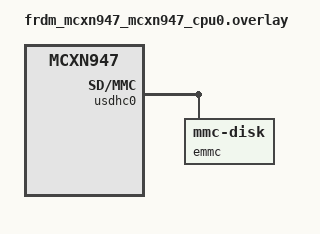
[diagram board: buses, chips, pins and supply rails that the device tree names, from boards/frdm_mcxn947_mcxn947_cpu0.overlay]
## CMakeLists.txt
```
cmake_minimum_required(VERSION 3.13.1)

if(NOT DEFINED BOARD)
    set(BOARD db1/mcxn947/cpu0) # Must be before find_package()
    #set(BOARD frdm_mcxn947/mcxn947/cpu0) # Must be before find_package()
endif()
find_package(Zephyr REQUIRED HINTS $ENV{ZEPHYR_BASE})

project(app LANGUAGES C)

include(cmake/protobuf.cmake)


target_sources(app PRIVATE src/main.c)
target_sources(app PRIVATE src/debug_leds.c)
target_sources(app PRIVATE src/handle_fatal.c)
target_sources(app PRIVATE src/led_manager.c)
target_sources(app PRIVATE src/modem.c)
target_sources(app PRIVATE src/power.c)
target_sources(app PRIVATE src/imu.c)
target_sources(app PRIVATE src/rip.c)
target_sources(app PRIVATE src/pressure.c)
target_sources(app PRIVATE src/exg.c)
target_sources(app PRIVATE src/gpio_init.c)
target_sources(app PRIVATE src/fuel_gauge.c)
target_sources(app PRIVATE src/als.c)
target_sources(app PRIVATE src/audio.c)
target_sources(app PRIVATE src/display.c)
target_sources(app PRIVATE src/temperature.c)
target_sources(app PRIVATE src/storage.c)
target_sources(app PRIVATE src/uuid_lib.c)
target_sources(app PRIVATE src/boot_id.c)
target_sources(app PRIVATE src/ui.c)
target_sources(app PRIVATE src/usb.c)
target_sources(app PRIVATE src/process_storage.c)
target_sources(app PRIVATE src/processor.c)

#TODO This needs to be replaced with stowood specific info
include(${ZEPHYR_BASE}/samples/subsys/usb/common/common.cmake)


#Logo can be optionally removed from the build.
zephyr_sources_ifdef(CONFIG_DISPLAY_LOGO ../artefacts/test_logo.c)
target_include_directories(app PRIVATE ${CMAKE_CURRENT_SOURCE_DIR}/../artefacts)

#include the exg driver (is there a better way?)
target_include_directories(app PRIVATE ../include/app/drivers)

# This exposes the audio codec routing enum to the app,
# it seems that there is not a nice way to handle this.
target_include_directories(app PRIVATE ${CMAKE_CURRENT_SOURCE_DIR}/../drivers/audio/max9867)
```

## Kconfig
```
menu "Zephyr"
source "Kconfig.zephyr"
endmenu

menu "Application Configuration"

config NASAL_TEMP_SAMPLE_PERIOD_MS
	int "Nasal temperature sample period in ms"
	default 10
	help
	  Configure the nasal temperature sample period in ms.
	  Default is 10ms.

config NASAL_TEMP_BLOCK_SIZE
	int "Number of temperature samples per block"
	default 100
	help
	  Configure the number of temperature samples collected per block
	  before sending to the message queue.

config NASAL_TEMP_QUEUE_LEN
	int "Length of the temperature message queue"
	default 4
	help
      Configure the length of the temperature message queue.

config STORAGE_Q_LEN
	int "Length of the storage message queue"
	default 100
	help
	  Configure the length of the storage message queue.

config PROCESSOR_Q_LEN
	int "Length of the processor input message queue"
	default 100
	help
	  Configure the length of the processor input message queue.

config LOG_ROTATE_INTERVAL
	int "Log rotation interval in seconds"
	default 300
	help
	  Configure the interval in seconds at which log files are rotated.
	  Default is 300 seconds (5 minutes).

endmenu

module = APP
module-str = APP
source "subsys/logging/Kconfig.template.log_config"

config DISPLAY_LOGO
	bool "Enable display logo"
	default y
	depends on DISPLAY
	help
	  Enable inclusion of the logo in the display output.
	  When disabled, the logo source files will not be compiled
	  and the logo will not be displayed.

# TODO this should be removed and replaced with local, stowood specific config
source "samples/subsys/usb/common/Kconfig.sample_usbd"
```

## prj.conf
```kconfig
# ---------- Log module -----------
CONFIG_LOG=y
CONFIG_LOG_PRINTK=y
CONFIG_USE_SEGGER_RTT=n
CONFIG_LOG_BACKEND_RTT=n
CONFIG_PICOLIBC_IO_FLOAT=y # Print floats

CONFIG_LOG_BUFFER_SIZE=10240

# ---------- Debugging ------------
CONFIG_DEBUG_OPTIMIZATIONS=y
#CONFIG_NO_OPTIMIZATIONS=y <<-- This breaks debugging, probably no what you are expecting.
# CONFIG_THREAD_STACK_INFO=y
# CONFIG_STACK_SENTINEL=y
# CONFIG_DEBUG_THREAD_INFO=y

# ------- Fatal error handling ---------
CONFIG_REBOOT=y

# ---------- Boot/Device ID  -----------
CONFIG_HWINFO=y #Hardware Info (Unique ID)
CONFIG_ENTROPY_GENERATOR=y
CONFIG_TEST_RANDOM_GENERATOR=y
# TODO ^ This *must* be replaced for production!


#---------- IMU -------------
CONFIG_LSM6DSO=y
CONFIG_SENSOR=y

# ---------- Pressure sensor -------------
CONFIG_ABP2S=y
CONFIG_SENSOR=y

# ------- ExG I2S Driver -------------
CONFIG_I2S_ADS1298=y
CONFIG_SPI=y
CONFIG_GPIO=y

# ------- Fuel Gauge -------------
CONFIG_I2C=y
CONFIG_SENSOR=y

# ------- Modem -------------
CONFIG_SERIAL=y
CONFIG_UART_INTERRUPT_DRIVEN=y


# ---------- ALS -----------
CONFIG_I2C=y
CONFIG_SENSOR=y
CONFIG_VEML6030=y

# ---------- Audio -------------
CONFIG_I2C=y
CONFIG_AUDIO=y
CONFIG_AUDIO_CODEC=y
CONFIG_AUDIO_CODEC_MAX9867=y

# ---------- I2S -------------
CONFIG_I2S=y

# CONFIG_DMA_TCD_QUEUE_SIZE sets size of queue used to chain DMA blocks (TCDs)
# together, and should be sized as needed by the application.  If not large
# enough, the DMA may starve.  Symptoms of this issue include transmit blocks
# repeated, or RX blocks skipped. For I2S driver, queue size must be at least 3.
CONFIG_DMA_TCD_QUEUE_SIZE=4

# I2S and DMA logging can occur in interrupt context, and interfere with I2S
# stream timing.  If using either logging, set logging to deferred
CONFIG_DMA_LOG_LEVEL_OFF=y
CONFIG_I2S_LOG_LEVEL_OFF=y
# ---------- Display -------------
# 200000 diplay + 1024 from ADC(?)
CONFIG_HEAP_MEM_POOL_SIZE=202000
CONFIG_DISPLAY=y
#CONFIG_DISPLAY_LOGO=n

# ---------- ADC Temperature Sensor -------------
CONFIG_ADC=y
# CONFIG_NASAL_TEMP_SAMPLE_PERIOD_MS=800
# CONFIG_NASAL_TEMP_BLOCK_SIZE=20


# ---------- Disk --------------
CONFIG_DISK_ACCESS=y
CONFIG_DISK_DRIVERS=y
#CONFIG_SD_LOG_LEVEL_DBG=y
CONFIG_SD_OCR_RETRY_COUNT=10

CONFIG_FILE_SYSTEM=y
CONFIG_FAT_FILESYSTEM_ELM=y
CONFIG_FILE_SYSTEM_MKFS=y
CONFIG_FS_FATFS_LFN=y
#CONFIG_FS_FATFS_MOUNT_MKFS=n <--disable format if mount fails

#CONFIG_FILE_SYSTEM_LITTLEFS=y
#CONFIG_FS_LITTLEFS_BLK_DEV=y
#CONFIG_FS_LITTLEFS_FC_HEAP_SIZE=4096

# ---------- USB Mass Storage --------------
CONFIG_USB_DEVICE_STACK_NEXT=y
CONFIG_USBD_MSC_CLASS=y
CONFIG_USBD_MSC_LUNS_PER_INSTANCE=3
# CONFIG_SAMPLE_USBD_PRODUCT="BFP2"

# Reduce USB stack logging verbosity (covers usbd_ch9, usbd_core, etc.)
CONFIG_USBD_LOG_LEVEL_WRN=y

#CONFIG_USBD_LOG_LEVEL_OFF=y
#CONFIG_USBD_LOG_LEVEL_ERR=y
#CONFIG_USBD_LOG_LEVEL_INF=y

# ------------ Protobuf/Nanopb -------------
CONFIG_NANOPB=y

# ------------ Main Thread -------------
CONFIG_MAIN_STACK_SIZE=4096
# ------------ APP -------------
CONFIG_POLL=y
CONFIG_LOG_ROTATE_INTERVAL=20
```

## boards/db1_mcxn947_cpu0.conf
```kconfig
#CONFIG_DEBUG_OPTIMIZATIONS=y
#CONFIG_SD_LOG_LEVEL_DBG=y
```

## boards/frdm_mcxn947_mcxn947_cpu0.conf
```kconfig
#CONFIG_SD_LOG_LEVEL_DBG=y
```

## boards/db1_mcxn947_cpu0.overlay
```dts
//&sai1 {
//	status = "disabled";
//};
```

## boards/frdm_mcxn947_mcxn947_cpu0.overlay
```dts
&usdhc0 {
	status = "okay";
	pinctrl-0 = <&pinmux_usdhc0>;
	pinctrl-1 = <&pinmux_usdhc0>;
	pinctrl-2 = <&pinmux_usdhc0>;
	pinctrl-names = "default", "slow", "med";
	no-1-8-v;
	/delete-property/ cd-gpios; // Remove card detect to free PIO2_1 for D4
	pwr-gpios = <&gpio1 22 GPIO_ACTIVE_HIGH>; // eMMC power enable pin
	//	pwr-gpios = <&gpio1 17 GPIO_ACTIVE_LOW>; // eMMC reset pin
	power-delay-ms = <200>;
	/* eMMC - embedded storage */
	emmc {
//				compatible = "zephyr,sdmmc-disk";
		compatible = "zephyr,mmc-disk";
		disk-name = "SD2";
		status = "okay";
	};
	/* Disable the original SD card disk */
	/delete-node/ sdmmc;
};


&pinctrl {

	pinmux_usdhc0: pinmux_usdhc0 {
		group0 {
			pinmux = <SDHC0_CMD_PIO2_5>,
					 <SDHC0_D0_PIO2_3>,
					 <SDHC0_D1_PIO2_2>,
					 <SDHC0_D2_PIO2_7>,
					 <SDHC0_D3_PIO2_6>,
					 <SDHC0_D4_PIO2_1>,
					 <SDHC0_D5_PIO2_0>,
					 <SDHC0_D6_PIO2_9>,
					 <SDHC0_D7_PIO2_8>;
			slew-rate = "fast";
			drive-strength = "low";
			bias-pull-up;
			input-enable;
		};

		group1 {
			pinmux = <SDHC0_CLK_PIO2_4>;
			slew-rate = "fast";
			drive-strength = "low";
			//			input-enable;
		};
	};
};


&flexcomm2 {
	status = "disabled";
};

&flexcomm2_lpi2c2 {
	status = "disabled";
};

&flexcomm2_lpuart2 {
	status = "disabled";
};

&flexspi {
	status = "disabled";
	w25q64jvssiq: w25q64jvssiq@0 {
		status = "disabled";
	};
};

&enet {
	status = "disabled";
};

&enet_mac {
	status = "disabled";
};

&enet_mdio {
	status = "disabled";
};

&flexpwm1_pwm0 {
	status = "disabled";
	//	pinctrl-0 = <&pinmux_flexpwm1_pwm0>;
	//	pinctrl-names = "default";
};
&flexpwm1_pwm1 {
	status = "disabled";
};
&flexpwm1_pwm2 {
	status = "disabled";
};

&flexcan0 {
	status = "disabled";
	//	pinctrl-0 = <&pinmux_flexcan0>;
	//	pinctrl-names = "default";
};


&lpcmp0 {
	status = "disabled";
};

&sc_timer {
	status = "disabled";
	//	pinctrl-0 = <&pinmux_sctimer>;
	//	pinctrl-names = "default";
};


&sai0 {
	status = "disabled";
};

&os_timer {
	status = "disabled";
};

/ {
	gpio_keys {
		compatible = "gpio-keys";

		user_button_2: button_0 {
			label = "User SW2";
			gpios = <&gpio0 23 (GPIO_ACTIVE_LOW | GPIO_PULL_UP)>;
			zephyr,code = <INPUT_KEY_0>;
			status = "disabled";
		};

		user_button_3: button_1 {
			label = "User SW3";
			gpios = <&gpio0 6 (GPIO_ACTIVE_LOW | GPIO_PULL_UP)>;
			zephyr,code = <INPUT_KEY_1>;
			status = "disabled";
		};
	};
};

&smartdma {
	status = "disabled";
};

&video_sdma {
	status = "disabled";
};

&sai0 {
	status = "disabled";
};

&sai1 {
	status = "disabled";
};
```

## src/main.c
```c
#include "als.h"
#include "audio.h"
#include "boot_id.h"
#include "debug_leds.h"
#include "display.h"
#include "exg.h"
#include "fuel_gauge.h"
#include "imu.h"
#include "led_manager.h"
#include "modem.h"
#include "power.h"
#include "pressure.h"
#include "processor.h"
#include "rip.h"
#include "storage.h"
#include "temperature.h"
#include "ui.h"
#include "usb.h"

#include <zephyr/kernel.h>
#include <zephyr/logging/log.h>

#include <BFP.pb.h>
#include <BFP_proto_rev.h>
#include <app_version.h>

LOG_MODULE_REGISTER(main, CONFIG_APP_LOG_LEVEL);
temp_block_t temp_block;

//K_MSGQ_DEFINE(main_queue, sizeof(BaseEvent), 4, 4);


int main(void) {
	LOG_INF("BFP2 Main core %s\n", APP_VERSION_STRING);
	init_debug_leds();
	debug_led_on();
	init_id();
	LOG_INF("Boot ID    \t%s", get_boot_id());
	LOG_INF("Device  ID \t%s", get_device_id());

	led_manager_init();
	led_manager_set(LED_MANAGER_COLOUR_OFF, LED_MANAGER_MODE_CONT);
	//    init_power(); Called early in kernel startup

	init_ui();
	LOG_INF("Buttons: Left %d Right %d", left_button(), right_button());

	if (left_button()) {
		LOG_WRN("Left button pressed on boot - entering extract mode");
		init_usb();
		while (1) {
			k_sleep(K_SECONDS(1));
			printk("*");
			debug_led_toggle(0);
		}
	}
	LOG_INF("Continuing in Record mode");

	struct k_msgq *storage_queue = init_storage();
	struct k_msgq *main_queue = start_processing(storage_queue);

	init_exg(main_queue);

	// init_imu();
	// init_rip();
	// init_pressure();
	// init_fuel_gauge();
	// init_modem();
	// init_als();
	// init_audio();
	// init_display();
	// init_temperature();

	LOG_INF("Init complete");

	while (1) {
		printk(".");
		k_sleep(K_SECONDS(1));
		debug_led_toggle(0);
		if (temperature_read_block(&temp_block, K_NO_WAIT) == 0) {
			printk(":");
		}
	}
	return 0;
}
```

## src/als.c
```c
#include "als.h"
#include <zephyr/kernel.h>
#include <zephyr/device.h>
#include <zephyr/drivers/sensor.h>
#include <stdio.h>
#include <zephyr/sys/util.h>
#include <zephyr/logging/log.h>
LOG_MODULE_REGISTER(als, LOG_LEVEL_INF);

int init_als(void)
{
    const struct device *const dev = DEVICE_DT_GET_ONE(vishay_veml6030);
    struct sensor_value val;

    if (!device_is_ready(dev)) {
        LOG_ERR("sensor: ALS not ready.");
        return 0;
    }

    if (sensor_sample_fetch(dev) < 0) {
        LOG_ERR("Sensor sample update error");
        return -EIO;
    }

    if (sensor_channel_get(dev, SENSOR_CHAN_LIGHT, &val) < 0) {
        LOG_ERR("Cannot read VEML6030 value");
        return 0;
    }

    LOG_INF("ALS reading: %g", sensor_value_to_double(&val));

    return 0;
}
```

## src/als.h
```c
#pragma once
int init_als(void);
```

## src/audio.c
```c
#include <zephyr/kernel.h>
#include <zephyr/audio/codec.h>
#include <zephyr/drivers/i2s.h>
#include "max9867.h"

#include <zephyr/logging/log.h>

LOG_MODULE_REGISTER(audio, LOG_LEVEL_INF);

#define TIMEOUT          2000
#define SAMPLE_RATE   8000

#define I2S_DEV_NODE_RX DT_NODELABEL(sai1)


/* TODO: Think about this when considering system architecture  */
#define NUM_BLOCKS 20
#define SAMPLE_NO 64

#define BLOCK_SIZE (2 * SAMPLE_NO)

#ifdef CONFIG_NOCACHE_MEMORY
	#define MEM_SLAB_CACHE_ATTR __nocache
#else
	#define MEM_SLAB_CACHE_ATTR
#endif


char MEM_SLAB_CACHE_ATTR __aligned(WB_UP(32))
	_k_mem_slab_buf_rx_0_mem_slab[(NUM_BLOCKS + 2) * WB_UP(BLOCK_SIZE)];
STRUCT_SECTION_ITERABLE(k_mem_slab, rx_0_mem_slab) =
	Z_MEM_SLAB_INITIALIZER(rx_0_mem_slab, _k_mem_slab_buf_rx_0_mem_slab,
				WB_UP(BLOCK_SIZE), NUM_BLOCKS + 2);

#define RX_THREAD_STACK_SIZE 1024
#define RX_THREAD_PRIORITY 4

static struct k_thread rx_thread_data;
K_THREAD_STACK_DEFINE(rx_thread_stack, RX_THREAD_STACK_SIZE);


void rx_thread_func(void *p1, void *p2, void *p3)
{
    const struct device *dev_i2s = (const struct device *)p1;
    void *rx_block;
    size_t rx_size;
    int ret;
    
    LOG_INF("SAI RX thread started");
    
    while(1)
    {
        ret = i2s_read(dev_i2s, &rx_block, &rx_size);
        if (ret < 0)
        {
            LOG_ERR("Failed to read I2S RX stream (%d)", ret);
            return;
        }

        k_mem_slab_free(&rx_0_mem_slab, rx_block);
    }
}

#ifdef CONFIG_BOARD_DB1_REV_62_2

#define TX_THREAD_STACK_SIZE 1024
#define TX_THREAD_PRIORITY 5

/* TX memory slab for outgoing audio data */
char MEM_SLAB_CACHE_ATTR __aligned(WB_UP(32))
        _k_mem_slab_buf_tx_0_mem_slab[NUM_BLOCKS * WB_UP(BLOCK_SIZE)];
STRUCT_SECTION_ITERABLE(k_mem_slab, tx_0_mem_slab) =
        Z_MEM_SLAB_INITIALIZER(tx_0_mem_slab, _k_mem_slab_buf_tx_0_mem_slab,
                               WB_UP(BLOCK_SIZE), NUM_BLOCKS);


static struct k_thread tx_thread_data;
K_THREAD_STACK_DEFINE(tx_thread_stack, TX_THREAD_STACK_SIZE);

/* We are currently using the SAI TX clocks because that is how the hardware is wired.
 * Even when operating synchronously(slave to RX), It seems that the TX section will
 * only generate frame sync when the FIFO is non-empty hence we have this thread filling
 * The TX FIFO continuously.
 * See DS: 67.6.1.8 - TCR4:ONDEM description
 * This will be dropped with the next board rev. */
void tx_thread_func(void *p1, void *p2, void *p3)
{
    const struct device *dev_i2s = (const struct device *)p1;
    void *tx_block;
    int ret;
    
    LOG_INF("TX thread started");
    
    while(1)
    {
        ret = k_mem_slab_alloc(&tx_0_mem_slab, &tx_block, K_MSEC(100));
        if (ret == 0)
        {
            ret = i2s_write(dev_i2s, tx_block, BLOCK_SIZE);
            if (ret < 0)
            {
                LOG_ERR("Failed to write TX buffer (%d)", ret);
                k_mem_slab_free(&tx_0_mem_slab, tx_block);
            }
        }
        else
        {
            LOG_ERR("Failed to allocate TX buffer (%d)", ret);
            k_sleep(K_MSEC(100));
        }
    }
}

static int configure_and_start_tx(const struct device *dev_i2s)
{
    struct i2s_config i2s_cfg_tx;
    void *tx_block;
    int ret;

    i2s_cfg_tx.word_size = 16U;
    i2s_cfg_tx.channels = 2U;
    i2s_cfg_tx.format = I2S_FMT_DATA_FORMAT_I2S;
    i2s_cfg_tx.frame_clk_freq = SAMPLE_RATE;
    i2s_cfg_tx.block_size = BLOCK_SIZE;
    i2s_cfg_tx.timeout = TIMEOUT;
    i2s_cfg_tx.mem_slab = &tx_0_mem_slab;
    i2s_cfg_tx.options = 0;

    ret = i2s_configure(dev_i2s, I2S_DIR_TX, &i2s_cfg_tx);
    if (ret < 0) {
        LOG_ERR("Failed to configure I2S TX stream (%d)", ret);
        return ret;
    }

    ret = k_mem_slab_alloc(&tx_0_mem_slab, &tx_block, K_NO_WAIT);
    if (ret != 0) {
        LOG_ERR("Failed to allocate TX buffer (%d)", ret);
        return ret;
    }

    ret = i2s_write(dev_i2s, tx_block, BLOCK_SIZE);
    if (ret < 0) {
        LOG_ERR("Failed to write initial TX buffer (%d)", ret);
        k_mem_slab_free(&tx_0_mem_slab, tx_block);
        return ret;
    }

    ret = i2s_trigger(dev_i2s, I2S_DIR_TX, I2S_TRIGGER_START);
    if (ret < 0) {
        LOG_ERR("Failed to start I2S TX stream (%d)", ret);
        return ret;
    }

    LOG_INF("TX stream started");

    k_thread_create(&tx_thread_data, tx_thread_stack,
                    K_THREAD_STACK_SIZEOF(tx_thread_stack),
                    tx_thread_func,
                    (void *)dev_i2s, NULL, NULL,
                    TX_THREAD_PRIORITY, 0, K_NO_WAIT);

    return 0;
}
#endif

int init_i2s(void)
{
    static const struct device *dev_i2s = DEVICE_DT_GET_OR_NULL(I2S_DEV_NODE_RX);
    struct i2s_config i2s_cfg_rx;
    int ret;
    
    if (!device_is_ready(dev_i2s)) {
        LOG_ERR("I2S device not ready");
        return -ENODEV;
    }

    i2s_cfg_rx.word_size = 16U;
    i2s_cfg_rx.channels = 2U;
    i2s_cfg_rx.format = I2S_FMT_DATA_FORMAT_I2S;
    i2s_cfg_rx.frame_clk_freq = SAMPLE_RATE;
    i2s_cfg_rx.block_size = BLOCK_SIZE;
    i2s_cfg_rx.timeout = TIMEOUT;
    i2s_cfg_rx.options = 0;
//    i2s_cfg_rx.options = I2S_OPT_FRAME_CLK_SLAVE | I2S_OPT_BIT_CLK_SLAVE;
//    i2s_cfg_rx.options |= I2S_OPT_LOOPBACK;

    i2s_cfg_rx.mem_slab = &rx_0_mem_slab;

    ret = i2s_configure(dev_i2s, I2S_DIR_RX, &i2s_cfg_rx);
    if (ret < 0) {
        LOG_ERR("Failed to configure I2S RX stream (%d)", ret);
        return ret;
    }

#ifdef CONFIG_BOARD_DB1_REV_62_2
    /* Datasheet */
//    If both the transmitter and receiver use the receiver bit clock and frame sync:
//    • Configure the receiver for asynchronous operation and the transmitter for synchronous operation.
//    • Enable the transmitter in Synchronous mode only after configuring both the receiver and transmitter.
//    • Enable the receiver last and disable the receiver first.

    ret = configure_and_start_tx(dev_i2s);
    if (ret < 0) {
        LOG_ERR("Failed to configure and start TX stream (%d)", ret);
        return ret;
    }
#endif


    ret = i2s_trigger(dev_i2s, I2S_DIR_RX, I2S_TRIGGER_START);
    if (ret < 0) {
        LOG_ERR("Failed to start I2S RX stream (%d)", ret);
        return ret;
    }

    /* Start RX thread to handle incoming audio data */
    k_thread_create(&rx_thread_data, rx_thread_stack,
                    K_THREAD_STACK_SIZEOF(rx_thread_stack),
                    rx_thread_func,
                    (void *)dev_i2s, NULL, NULL,
                    RX_THREAD_PRIORITY, 0, K_NO_WAIT);

    LOG_INF("Audio system initialized - RX and TX threads running");
    return 0;

}

int init_codec() {
    const struct device *const codec_dev = DEVICE_DT_GET(DT_NODELABEL(audio_codec));
    struct audio_codec_cfg audio_cfg;

    if (!device_is_ready(codec_dev))
    {
        LOG_ERR("%s is not ready", codec_dev->name);
        return -ENODEV;
    }

    audio_cfg.dai_route = AUDIO_ROUTE_CAPTURE;
    audio_cfg.dai_type = AUDIO_DAI_TYPE_I2S;
    audio_cfg.dai_cfg.i2s.word_size = 16;
    audio_cfg.dai_cfg.i2s.channels = 2;
    audio_cfg.dai_cfg.i2s.format = I2S_FMT_DATA_FORMAT_I2S;
    audio_cfg.dai_cfg.i2s.options = I2S_OPT_FRAME_CLK_MASTER | I2S_OPT_BIT_CLK_MASTER;
    audio_cfg.dai_cfg.i2s.frame_clk_freq = 8000;
    audio_cfg.dai_cfg.i2s.mem_slab = NULL;
    audio_cfg.dai_cfg.i2s.block_size = 0;

    int ret = audio_codec_configure(codec_dev, &audio_cfg);
    if (ret < 0)
    {
        LOG_ERR("Failed to configure audio codec: %d", ret);
        return ret;
    }

    ret = audio_codec_route_input(codec_dev, AUDIO_CHANNEL_ALL, MAX9867_INPUT_MIC);
    if (ret < 0)
    {
        LOG_ERR("Failed to route input: %d", ret);
        return ret;
    }
    ret = audio_codec_set_property(codec_dev, AUDIO_PROPERTY_INPUT_VOLUME,
                                   AUDIO_CHANNEL_ALL, (audio_property_value_t) {.vol = 10});
    if (ret < 0)
    {
        LOG_ERR("Failed to set input volume: %d", ret);
        return ret;
    }
    LOG_DBG("Audio codec configured successfully");
    return 0;
}


int init_audio(void) {
    int ret = init_i2s();
    if (ret < 0) {
        LOG_ERR("Failed to initialize I2S: %d", ret);
        return ret;
    }

    ret = init_codec();
    if (ret < 0) {
        LOG_ERR("Failed to initialize audio codec: %d", ret);
        return ret;
    }
    return 0;
}
```

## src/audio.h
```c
#pragma once

int init_audio(void);
```

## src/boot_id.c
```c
#include "boot_id.h"
#include "uuid_lib.h"

#include <zephyr/drivers/hwinfo.h>
// #include <zephyr/logging/log.h>
// LOG_MODULE_REGISTER(boot, CONFIG_LOG_DEFAULT_LEVEL);

uuid_t boot_uuid;
uuid_t device_uuid;

void init_id(void) {
	static bool id_has_been_generated = false;

	if (id_has_been_generated == false) {
		uuid_gen(&boot_uuid);
		uuid_generate_string(&boot_uuid);

		hwinfo_get_device_id(device_uuid.val, 16);
		uuid_generate_string(&device_uuid);

		id_has_been_generated = true;
	}
}

uint8_t *get_boot_id(void) {
	return boot_uuid.as_string;
}

void get_boot_id_bytes(uint8_t *p) {
	get_uuid_bytes(p, boot_uuid);
}

uint8_t *get_device_id(void) {
	return device_uuid.as_string;
}

void get_device_id_bytes(uint8_t *p) {
	get_uuid_bytes(p, device_uuid);
}
```

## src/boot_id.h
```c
#pragma once
#include "stdint.h"

void init_id(void);
void get_boot_id_bytes(uint8_t *p);
uint8_t *get_boot_id(void);

uint8_t *get_device_id(void);
void get_device_id_bytes(uint8_t *p);
```

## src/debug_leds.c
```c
#include <zephyr/kernel.h>
#include <zephyr/drivers/gpio.h>

#define LED0_NODE DT_ALIAS(led0)
const struct gpio_dt_spec debug_led0 = GPIO_DT_SPEC_GET(LED0_NODE, gpios);

#define LED1_NODE DT_ALIAS(led1)
const struct gpio_dt_spec debug_led1 = GPIO_DT_SPEC_GET(LED1_NODE, gpios);

#define LED2_NODE DT_ALIAS(led2)
const struct gpio_dt_spec debug_led2 = GPIO_DT_SPEC_GET(LED2_NODE, gpios);

#define LED3_NODE DT_ALIAS(led3)
const struct gpio_dt_spec debug_led3 = GPIO_DT_SPEC_GET(LED3_NODE, gpios);

//No logging in this module so that it cannot block an led action

void debug_led_set(uint8_t led, uint8_t state)
{
    switch (led)
    {
        case 0:
            gpio_pin_set_dt(&debug_led0, state);
            break;
        case 1:
            gpio_pin_set_dt(&debug_led1, state);
            break;
        case 2:
            gpio_pin_set_dt(&debug_led2, state);
            break;
        case 3:
            gpio_pin_set_dt(&debug_led3, state);
            break;
        default:
            break;
    }
}

void debug_led_on(void)
{
    gpio_pin_set_dt(&debug_led0, 1);
}

void debug_led_off(void)
{
    gpio_pin_set_dt(&debug_led0, 0);
}

void debug_led_toggle(uint8_t led)
{
    switch (led)
    {
        case 0:
            gpio_pin_toggle_dt(&debug_led0);
            break;
        case 1:
            gpio_pin_toggle_dt(&debug_led1);
            break;
        case 2:
            gpio_pin_toggle_dt(&debug_led2);
            break;
        case 3:
            gpio_pin_toggle_dt(&debug_led3);
            break;
        default:
            // Invalid LED index, no logging in module.
            break;

    }
}

void debug_led_strobe(void)
{
    debug_led_on();
    k_msleep(1);
    debug_led_off();

}


void init_debug_leds(void)
{
    if (!gpio_is_ready_dt(&debug_led0)) {
        k_fatal_halt(-100);
	}
    if (!gpio_is_ready_dt(&debug_led1)) {
        k_fatal_halt(-100);
    }
    if (!gpio_is_ready_dt(&debug_led2)) {
        k_fatal_halt(-100);
    }
    if (!gpio_is_ready_dt(&debug_led3)) {
        k_fatal_halt(-100);
    }

    if ( 0 != gpio_pin_configure_dt(&debug_led0, GPIO_OUTPUT_ACTIVE)) {
        k_fatal_halt(-101);
    }
    if ( 0 != gpio_pin_configure_dt(&debug_led1, GPIO_OUTPUT_ACTIVE)) {
        k_fatal_halt(-102);
    }
    if ( 0 != gpio_pin_configure_dt(&debug_led2, GPIO_OUTPUT_ACTIVE)) {
        k_fatal_halt(-101);
    }
    if ( 0 != gpio_pin_configure_dt(&debug_led3, GPIO_OUTPUT_ACTIVE)) {
        k_fatal_halt(-101);
    }

    debug_led_set(0, 0);
    debug_led_set(1, 0);
    debug_led_set(2, 0);
    debug_led_set(3, 0);
}
```

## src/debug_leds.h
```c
#pragma once
#include "stdint.h"

void debug_led_set(uint8_t led, uint8_t state);
void debug_led_on(void);
void debug_led_off(void);
void debug_led_toggle(uint8_t led);
void debug_led_strobe(void);
void init_debug_leds(void);
```

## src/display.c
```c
#include <zephyr/logging/log.h>
LOG_MODULE_REGISTER(display, LOG_LEVEL_INF);

#include <zephyr/kernel.h>
#include <zephyr/device.h>
#include <zephyr/drivers/display.h>
#include "power.h"

#ifdef CONFIG_DISPLAY_LOGO
#include "test_logo.h"
#endif

__maybe_unused
#define RGB565(r,g,b) (((r & 0x1F) << 11) | ((g & 0x3F) << 5) | (b & 0x1F))


static void fill_buffer_rgb565(uint16_t color, uint8_t *buf,
			       size_t buf_size)
{
	for (size_t idx = 0; idx < buf_size; idx += 2) {
		*(buf + idx + 0) = (color >> 8) & 0xFFu;
		*(buf + idx + 1) = (color >> 0) & 0xFFu;
	}
}


int init_display(void)
{
	uint8_t *buf;
	const struct device *display_dev;
	struct display_capabilities capabilities;
	struct display_buffer_descriptor buf_desc;
	size_t buf_size = 0;

    backlight_on();

    display_dev = DEVICE_DT_GET(DT_CHOSEN(zephyr_display));
	if (!device_is_ready(display_dev)) {
		LOG_ERR("Display Device %s not found", display_dev->name);
        return -ENODEV;
	}

	display_get_capabilities(display_dev, &capabilities);
    LOG_DBG("Display capabilities: x_res=%d, y_res=%d, pixel_format=%d",
          capabilities.x_resolution, capabilities.y_resolution,
          capabilities.current_pixel_format);

	buf_size = capabilities.x_resolution * capabilities.y_resolution *2; // 2 bytes per pixel

	buf = k_malloc(buf_size);
	if (buf == NULL) {
		LOG_ERR("Could not allocate memory. Aborting Display init.");
		return -ENOMEM;
	}

    buf_desc.frame_incomplete = false;
    buf_desc.buf_size = buf_size;
    buf_desc.width = capabilities.x_resolution;
    buf_desc.height = capabilities.y_resolution;
    buf_desc.pitch = capabilities.x_resolution;

	display_blanking_off(display_dev);

    memset(buf, 0xff, buf_size);

    if (display_write(display_dev, 0, 0, &buf_desc, buf) < 0) {
        LOG_ERR("Display write failed");
        k_free(buf);
        return -EIO;
    }

    uint8_t * logo = buf;
#ifdef CONFIG_DISPLAY_LOGO
    buf_desc.buf_size = TEST_LOGO_WIDTH * TEST_LOGO_HEIGHT * 2;
    buf_desc.width = TEST_LOGO_WIDTH;
    buf_desc.height = TEST_LOGO_HEIGHT;
    buf_desc.pitch = TEST_LOGO_WIDTH;
    logo = (uint8_t *) test_logo;
#else
    buf_desc.width = 206;
    buf_desc.height = 100;
    buf_desc.pitch = 100;
    buf_desc.buf_size = buf_desc.width * buf_desc.height * 2;
    fill_buffer_rgb565(RGB565(0, 0, 0xff ),buf, buf_desc.buf_size);
    logo = buf;
#endif

    if (display_write(display_dev, 20 , 100, &buf_desc, logo) < 0) {
        LOG_ERR("Display write failed");
        k_free(buf);
        return -EIO;
    }

    return 0;
}
```

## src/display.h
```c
#pragma once
int init_display(void);
```

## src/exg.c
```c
#include "ads1298_public.h"
#include "exg_conf.h"
#include "gpio_init.h"

#include <stdio.h>

#include <zephyr/device.h>
#include <zephyr/drivers/i2s.h>
#include <zephyr/kernel.h>
#include <zephyr/logging/log.h>

#include <BFP.pb.h>

LOG_MODULE_REGISTER(exg, LOG_LEVEL_DBG);

#define SAMPLES_IN_SLAB 20

#ifdef CONFIG_NOCACHE_MEMORY
#define MEM_SLAB_CACHE_ATTR __nocache
#else
#define MEM_SLAB_CACHE_ATTR
#endif

static char MEM_SLAB_CACHE_ATTR
	__aligned(WB_UP(32)) _k_mem_slab_buf_exg_0_mem_slab[(SAMPLES_IN_SLAB + 2) * WB_UP(sizeof(ads1298_sample_t))];
STRUCT_SECTION_ITERABLE(k_mem_slab, exg_0_mem_slab) = Z_MEM_SLAB_INITIALIZER(exg_0_mem_slab,
                                                                             _k_mem_slab_buf_exg_0_mem_slab,
                                                                             WB_UP(sizeof(ads1298_sample_t)),
                                                                             SAMPLES_IN_SLAB);

#define EXG_RX_THREAD_STACK_SIZE 1024
#define EXG_RX_THREAD_PRIORITY   4

#define EXG_SAMPLE_SIZE    (sizeof(((ads1298_sample_t *)0)->status) - 3)
#define PB_EXG_SAMPLE_SIZE (sizeof(((ExGDataEvent *)0)->readings))
BUILD_ASSERT(EXG_SAMPLE_SIZE <= PB_EXG_SAMPLE_SIZE,
             "ads1298_sample_t readings do not fit in ExGDataEvent readings field");

static struct k_thread exg_rx_thread_data;
K_THREAD_STACK_DEFINE(exg_rx_thread_stack, EXG_RX_THREAD_STACK_SIZE);

/* TODO, this thread could disappear if the driver is re-factored to accept the main queue via a register_queue function
 *   That will remove the extra queue and double handling. Lets get it working first. */
void exg_rx_thread_func(void *p1, void *p2, void *p3) {
	const struct device *dev_exg = (const struct device *)p1;
	struct k_msgq *main_queue = (struct k_msgq *)p2;
	void *rx_block;
	size_t rx_size;
	int ret;

	LOG_INF("EXG RX thread started");

	// Create and send event to main queue
	BaseEvent event = BaseEvent_init_default;
	event.has_event_type = true;
	event.event_type = EventType_EVENT_TYPE_EXG_DATA;
	event.has_priority = true;
	event.priority = Priority_PRIORITY_NORMAL;
	event.has_timestamp_us = true;
	event.which_event_data = BaseEvent_exg_data_event_tag;
	event.event_data.exg_data_event.has_status = true;
	event.event_data.exg_data_event.has_readings = true;
	event.event_data.exg_data_event.has_sequence_number = true;

	uint32_t sample_count = 0;

	while (1) {
		ret = i2s_read(dev_exg, &rx_block, &rx_size);
		if (ret < 0) {
			LOG_ERR("Failed to read EXG RX stream (%d)", ret);
			k_sleep(K_MSEC(10));
			continue;
		}


		// ads1298_sample_t *sample = (ads1298_sample_t *)rx_block;
		// LOG_DBG("Received sample: status=%02x%02x%02x, timestamp=%llu, sequence_number=%u",
		//         sample->status[0],
		//         sample->status[1],
		//         sample->status[2],
		//         sample->timestamp,
		//         sample->sequence_number);

		// sample_count++;
		// if (sample_count %100 == 0) {
		// 	LOG_HEXDUMP_DBG(sample->status, sizeof(sample->status), "E");
		//
		// 	// LOG_INF("EXG Sample %u: seq=%u, ts=%llu", sample_count, sample->sequence_number, sample->timestamp);
		// }


		// event.timestamp_us = sample->timestamp;
		memcpy(&event.event_data.exg_data_event.status, rx_block, 3);

		// event.event_data.exg_data_event.sequence_number = sample->sequence_number;

		memcpy(event.event_data.exg_data_event.readings, &rx_block[3],  3*8);

		ret = k_msgq_put(main_queue, &event, K_NO_WAIT);
		if (ret != 0) {
			LOG_WRN("Failed to put event to main queue: %d", ret);
		}

		k_mem_slab_free(&exg_0_mem_slab, rx_block);
	}
}

int init_exg(struct k_msgq *mq) {
	const struct device *const dev = DEVICE_DT_GET_ONE(ti_ads1298_i2s);
	struct exg_config exg_cfg;
	int ret;

	LOG_WRN("diong deffered init exg");
	ret = device_init(dev);
	if (ret < 0) {
		LOG_ERR("Deffered init of EXG failed (%d)", ret);
		return ret;
	}

	if (!device_is_ready(dev)) {
		LOG_ERR("Device %s is not ready\n", dev->name);
		k_sleep(K_MSEC(200));
	}

	exg_cfg.channels = 1;
	exg_cfg.sample_clk_freq = 250;
	exg_cfg.mem_slab = &exg_0_mem_slab;
	exg_cfg.timeout = 1000;

	ret = i2s_configure(dev, I2S_DIR_RX, (struct i2s_config *)&exg_cfg);
	if (ret < 0) {
		LOG_ERR("Failed to configure I2S RX stream (%d)", ret);
		return ret;
	}

	ret = i2s_trigger(dev, I2S_DIR_RX, I2S_TRIGGER_START);
	if (ret < 0) {
		LOG_ERR("Failed to start I2S RX stream (%d)", ret);
		return ret;
	}

	/* Start a thread to handle incoming ExG data */
	k_thread_create(&exg_rx_thread_data,
	                exg_rx_thread_stack,
	                K_THREAD_STACK_SIZEOF(exg_rx_thread_stack),
	                exg_rx_thread_func,
	                (void *)dev,
	                mq,
	                NULL,
	                EXG_RX_THREAD_PRIORITY,
	                0,
	                K_NO_WAIT);

	LOG_INF("EXG Running");
	return 0;
}
```

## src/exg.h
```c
#pragma once
int init_exg(struct k_msgq *mq);
```
